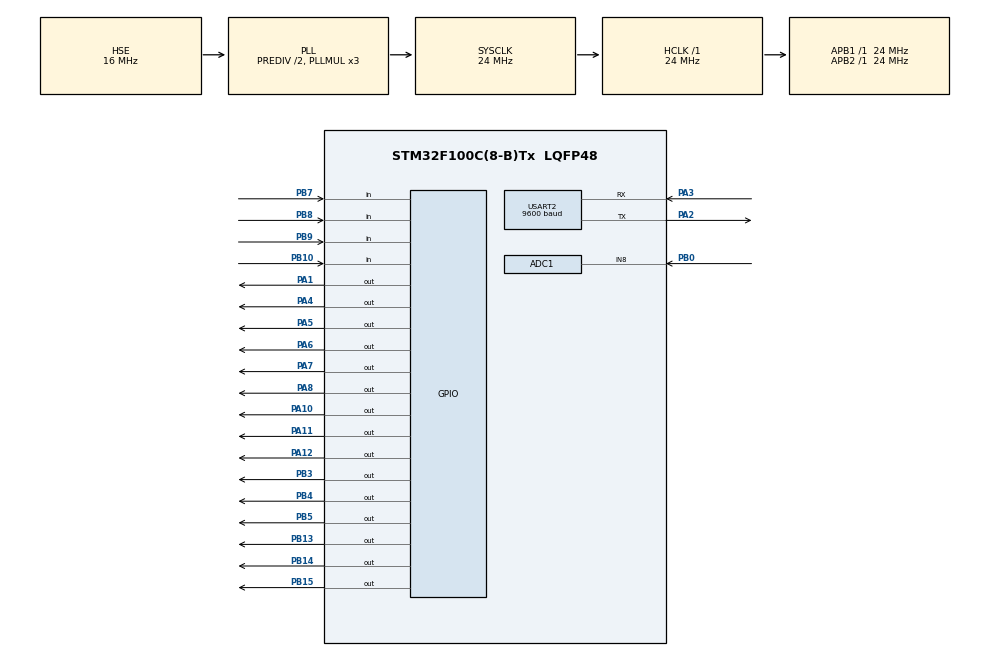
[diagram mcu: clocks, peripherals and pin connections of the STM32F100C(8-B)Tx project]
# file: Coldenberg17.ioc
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ADC1.Channel-0\#ChannelRegularConversion=ADC_CHANNEL_8
ADC1.ContinuousConvMode=ENABLE
ADC1.NbrOfConversionFlag=1
ADC1.Rank-0\#ChannelRegularConversion=1
ADC1.SamplingTime-0\#ChannelRegularConversion=ADC_SAMPLETIME_1CYCLE_5
ADC1.master=1
Mcu.Family=STM32F1
Mcu.Name=STM32F100C(8-B)Tx
Mcu.Package=LQFP48
NVIC.ADC1_IRQn=true\:0\:0\:false\:false\:true
NVIC.PriorityGroup=NVIC_PRIORITYGROUP_4
NVIC.USART2_IRQn=true\:0\:0\:false\:false\:true
PA1.Signal=GPIO_Output
PA10.Signal=GPIO_Output
PA11.Signal=GPIO_Output
PA12.Signal=GPIO_Output
PA13.Mode=Serial_Wire
PA13.Signal=SYS_JTMS-SWDIO
PA14.Mode=Serial_Wire
PA14.Signal=SYS_JTCK-SWCLK
PA2.Mode=Asynchronous
PA2.Signal=USART2_TX
PA3.Mode=Asynchronous
PA3.Signal=USART2_RX
PA4.Signal=GPIO_Output
PA5.Signal=GPIO_Output
PA6.Signal=GPIO_Output
PA7.Signal=GPIO_Output
PA8.Signal=GPIO_Output
PB0.Signal=ADCx_IN8
PB10.Signal=GPIO_Input
PB13.Signal=GPIO_Output
PB14.Signal=GPIO_Output
PB15.Signal=GPIO_Output
PB3.Signal=GPIO_Output
PB4.Signal=GPIO_Output
PB5.Signal=GPIO_Output
PB7.Signal=GPIO_Input
PB8.Signal=GPIO_Input
PB9.Signal=GPIO_Input
PD0-OSC_IN.Mode=HSE-External-Oscillator
PD0-OSC_IN.Signal=RCC_OSC_IN
PD1-OSC_OUT.Mode=HSE-External-Oscillator
PD1-OSC_OUT.Signal=RCC_OSC_OUT
ProjectManager.HeapSize=0x200
ProjectManager.StackSize=0x400
ProjectManager.TargetToolchain=TrueSTUDIO
RCC.AHBFreq_Value=24000000
RCC.APB1Freq_Value=24000000
RCC.APB1TimFreq_Value=24000000
RCC.APB2Freq_Value=24000000
RCC.APB2TimFreq_Value=24000000
RCC.EnbaleCSS=true
RCC.HCLKFreq_Value=24000000
RCC.HSEDivPLL=RCC_HSE_PREDIV_DIV2
RCC.HSE_VALUE=16000000
RCC.PLLMUL=RCC_PLL_MUL3
RCC.PLLSource=RCC_PLLSOURCE_HSE
RCC.SYSCLKFreq_VALUE=24000000
RCC.SYSCLKSource=RCC_SYSCLKSOURCE_PLLCLK
SH.ADCx_IN8.0=ADC1_IN8,IN8
USART2.BaudRate=9600
VP_WWDG_VS_WWDG.Mode=WWDG_Activate
board=Coldenberg17

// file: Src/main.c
/**
  ******************************************************************************
  * File Name          : main.c
  * Description        : Main program body
  ******************************************************************************
  *
  * COPYRIGHT(c) 2017 STMicroelectronics
  *
  * Redistribution and use in source and binary forms, with or without modification,
  * are permitted provided that the following conditions are met:
  *   1. Redistributions of source code must retain the above copyright notice,
  *      this list of conditions and the following disclaimer.
  *   2. Redistributions in binary form must reproduce the above copyright notice,
  *      this list of conditions and the following disclaimer in the documentation
  *      and/or other materials provided with the distribution.
  *   3. Neither the name of STMicroelectronics nor the names of its contributors
  *      may be used to endorse or promote products derived from this software
  *      without specific prior written permission.
  *
  * THIS SOFTWARE IS PROVIDED BY THE COPYRIGHT HOLDERS AND CONTRIBUTORS "AS IS"
  * AND ANY EXPRESS OR IMPLIED WARRANTIES, INCLUDING, BUT NOT LIMITED TO, THE
  * IMPLIED WARRANTIES OF MERCHANTABILITY AND FITNESS FOR A PARTICULAR PURPOSE ARE
  * DISCLAIMED. IN NO EVENT SHALL THE COPYRIGHT HOLDER OR CONTRIBUTORS BE LIABLE
  * FOR ANY DIRECT, INDIRECT, INCIDENTAL, SPECIAL, EXEMPLARY, OR CONSEQUENTIAL
  * DAMAGES (INCLUDING, BUT NOT LIMITED TO, PROCUREMENT OF SUBSTITUTE GOODS OR
  * SERVICES; LOSS OF USE, DATA, OR PROFITS; OR BUSINESS INTERRUPTION) HOWEVER
  * CAUSED AND ON ANY THEORY OF LIABILITY, WHETHER IN CONTRACT, STRICT LIABILITY,
  * OR TORT (INCLUDING NEGLIGENCE OR OTHERWISE) ARISING IN ANY WAY OUT OF THE USE
  * OF THIS SOFTWARE, EVEN IF ADVISED OF THE POSSIBILITY OF SUCH DAMAGE.
  *
  ******************************************************************************
  */
#include "main.h"
#include "stm32f1xx_hal.h"

/* USER CODE BEGIN Includes */
#include "Application/Logic.h"
#include "Application/Buttons/Buttons.h"
#include "Application/Display/Display.h"
#include "Application/LEDs/LEDs.h"
#include "Application/Ntc/Ntc.h"
#include "Application/Relays/Relays.h"

#include "Managers/BluetoothManager/BluetoothManager.h"
#include "Managers/LedsManager/LedsManager.h"
#include "Managers/LightManager/LightManager.h"
#include "Managers/TemperatureManager/TemperatureManager.h"
/* USER CODE END Includes */

ADC_HandleTypeDef hadc1;

UART_HandleTypeDef huart2;

WWDG_HandleTypeDef hwwdg;

/* USER CODE BEGIN PV */
/* Private variables ---------------------------------------------------------*/
volatile bool b10msPassed = false;
volatile bool b100msPassed = false;
/* USER CODE END PV */

void SystemClock_Config(void);
void Error_Handler(void);
static void MX_GPIO_Init(void);
static void MX_ADC1_Init(void);
static void MX_USART2_UART_Init(void);
static void MX_WWDG_Init(void);

/* USER CODE BEGIN PFP */
/* Private function prototypes -----------------------------------------------*/

/* USER CODE END PFP */

int main(void)
{

  /* MCU Configuration----------------------------------------------------------*/

  /* Reset of all peripherals, Initializes the Flash interface and the Systick. */
  HAL_Init();

  /* Configure the system clock */
  SystemClock_Config();

  /* Initialize all configured peripherals */
  MX_GPIO_Init();
  MX_ADC1_Init();
  MX_USART2_UART_Init();
  MX_WWDG_Init();

  /* USER CODE BEGIN 2 */
  Ntc_Initialize();
  Relays_Init();
  Buttons_Init();
  Display_InitState();
  /* USER CODE END 2 */

  /* Infinite loop */
  /* USER CODE BEGIN WHILE */
  while (1)
  {
	if(b100msPassed)
	{
		Ntc_Perform();   				//Get Temperature
		TemperatureManager_Perform(); 	//Manage relays to get stable temperature
		BluetoothManager_Perform(); 	//Send ntc value if connected

		/*! Keep it at the bottom */
		b100msPassed = false;
	}

	if(b10msPassed)
	{
		/*! Inputs */
		Buttons_Perform();
		Buttons_GenerateEvent();

		/*! Logic */
		Logic_Perform();  //Decide what is displayed

		/*! Managers */
		LedsManager_Perform();
		LightManager_Perform();

		/*! Outputs */
		Display_Perform();
		Relays_Perform();
		LEDs_Perform();

		/*! Keep it at the bottom */
		b10msPassed = false;
	}
  /* USER CODE END WHILE */

  }

}

/** System Clock Configuration
*/
void SystemClock_Config(void)
{

  RCC_OscInitTypeDef RCC_OscInitStruct;
  RCC_ClkInitTypeDef RCC_ClkInitStruct;
  RCC_PeriphCLKInitTypeDef PeriphClkInit;

    /**Initializes the CPU, AHB and APB busses clocks
    */
  RCC_OscInitStruct.OscillatorType = RCC_OSCILLATORTYPE_HSE;
  RCC_OscInitStruct.HSEState = RCC_HSE_ON;
  RCC_OscInitStruct.HSEPredivValue = RCC_HSE_PREDIV_DIV2;
  RCC_OscInitStruct.PLL.PLLState = RCC_PLL_ON;
  RCC_OscInitStruct.PLL.PLLSource = RCC_PLLSOURCE_HSE;
  RCC_OscInitStruct.PLL.PLLMUL = RCC_PLL_MUL3;
  if (HAL_RCC_OscConfig(&RCC_OscInitStruct) != HAL_OK)
  {
    Error_Handler();
  }

    /**Initializes the CPU, AHB and APB busses clocks
    */
  RCC_ClkInitStruct.ClockType = RCC_CLOCKTYPE_HCLK|RCC_CLOCKTYPE_SYSCLK
                              |RCC_CLOCKTYPE_PCLK1|RCC_CLOCKTYPE_PCLK2;
  RCC_ClkInitStruct.SYSCLKSource = RCC_SYSCLKSOURCE_PLLCLK;
  RCC_ClkInitStruct.AHBCLKDivider = RCC_SYSCLK_DIV1;
  RCC_ClkInitStruct.APB1CLKDivider = RCC_HCLK_DIV1;
  RCC_ClkInitStruct.APB2CLKDivider = RCC_HCLK_DIV1;

  if (HAL_RCC_ClockConfig(&RCC_ClkInitStruct, FLASH_LATENCY_0) != HAL_OK)
  {
    Error_Handler();
  }

  PeriphClkInit.PeriphClockSelection = RCC_PERIPHCLK_ADC;
  PeriphClkInit.AdcClockSelection = RCC_ADCPCLK2_DIV2;
  if (HAL_RCCEx_PeriphCLKConfig(&PeriphClkInit) != HAL_OK)
  {
    Error_Handler();
  }

    /**Enables the Clock Security System
    */
  HAL_RCC_EnableCSS();

    /**Configure the Systick interrupt time
    */
  HAL_SYSTICK_Config(HAL_RCC_GetHCLKFreq()/1000);

    /**Configure the Systick
    */
  HAL_SYSTICK_CLKSourceConfig(SYSTICK_CLKSOURCE_HCLK);

  /* SysTick_IRQn interrupt configuration */
  HAL_NVIC_SetPriority(SysTick_IRQn, 0, 0);
}

/* ADC1 init function */
static void MX_ADC1_Init(void)
{

  ADC_ChannelConfTypeDef sConfig;

    /**Common config
    */
  hadc1.Instance = ADC1;
  hadc1.Init.ScanConvMode = ADC_SCAN_DISABLE;
  hadc1.Init.ContinuousConvMode = ENABLE;
  hadc1.Init.DiscontinuousConvMode = DISABLE;
  hadc1.Init.ExternalTrigConv = ADC_SOFTWARE_START;
  hadc1.Init.DataAlign = ADC_DATAALIGN_RIGHT;
  hadc1.Init.NbrOfConversion = 1;
  if (HAL_ADC_Init(&hadc1) != HAL_OK)
  {
    Error_Handler();
  }

    /**Configure Regular Channel
    */
  sConfig.Channel = ADC_CHANNEL_8;
  sConfig.Rank = 1;
  sConfig.SamplingTime = ADC_SAMPLETIME_1CYCLE_5;
  if (HAL_ADC_ConfigChannel(&hadc1, &sConfig) != HAL_OK)
  {
    Error_Handler();
  }

}

/* USART2 init function */
static void MX_USART2_UART_Init(void)
{

  huart2.Instance = USART2;
  huart2.Init.BaudRate = 9600;
  huart2.Init.WordLength = UART_WORDLENGTH_8B;
  huart2.Init.StopBits = UART_STOPBITS_1;
  huart2.Init.Parity = UART_PARITY_NONE;
  huart2.Init.Mode = UART_MODE_TX_RX;
  huart2.Init.HwFlowCtl = UART_HWCONTROL_NONE;
  huart2.Init.OverSampling = UART_OVERSAMPLING_16;
  if (HAL_UART_Init(&huart2) != HAL_OK)
  {
    Error_Handler();
  }

}

/* WWDG init function */
static void MX_WWDG_Init(void)
{

  hwwdg.Instance = WWDG;
  hwwdg.Init.Prescaler = WWDG_PRESCALER_1;
  hwwdg.Init.Window = 64;
  hwwdg.Init.Counter = 64;
  if (HAL_WWDG_Init(&hwwdg) != HAL_OK)
  {
    Error_Handler();
  }

}

/** Configure pins as
        * Analog
        * Input
        * Output
        * EVENT_OUT
        * EXTI
*/
static void MX_GPIO_Init(void)
{

  GPIO_InitTypeDef GPIO_InitStruct;

  /* GPIO Ports Clock Enable */
  __HAL_RCC_GPIOD_CLK_ENABLE();
  __HAL_RCC_GPIOA_CLK_ENABLE();
  __HAL_RCC_GPIOB_CLK_ENABLE();

  /*Configure GPIO pin Output Level */
  HAL_GPIO_WritePin(GPIOA, GPIO_PIN_1|GPIO_PIN_4|GPIO_PIN_5|GPIO_PIN_6
                          |GPIO_PIN_7|GPIO_PIN_8|GPIO_PIN_10|GPIO_PIN_11
                          |GPIO_PIN_12, GPIO_PIN_RESET);

  /*Configure GPIO pin Output Level */
  HAL_GPIO_WritePin(GPIOB, GPIO_PIN_13|GPIO_PIN_14|GPIO_PIN_15|GPIO_PIN_3
                          |GPIO_PIN_4|GPIO_PIN_5, GPIO_PIN_RESET);

  /*Configure GPIO pins : PA1 PA4 PA5 PA6
                           PA7 PA8 PA10 PA11
                           PA12 */
  GPIO_InitStruct.Pin = GPIO_PIN_1|GPIO_PIN_4|GPIO_PIN_5|GPIO_PIN_6
                          |GPIO_PIN_7|GPIO_PIN_8|GPIO_PIN_10|GPIO_PIN_11
                          |GPIO_PIN_12;
  GPIO_InitStruct.Mode = GPIO_MODE_OUTPUT_PP;
  GPIO_InitStruct.Speed = GPIO_SPEED_FREQ_LOW;
  HAL_GPIO_Init(GPIOA, &GPIO_InitStruct);

  /*Configure GPIO pins : PB10 PB7 PB8 PB9 */
  GPIO_InitStruct.Pin = GPIO_PIN_10|GPIO_PIN_7|GPIO_PIN_8|GPIO_PIN_9;
  GPIO_InitStruct.Mode = GPIO_MODE_INPUT;
  GPIO_InitStruct.Pull = GPIO_NOPULL;
  HAL_GPIO_Init(GPIOB, &GPIO_InitStruct);

  /*Configure GPIO pins : PB13 PB14 PB15 PB3
                           PB4 PB5 */
  GPIO_InitStruct.Pin = GPIO_PIN_13|GPIO_PIN_14|GPIO_PIN_15|GPIO_PIN_3
                          |GPIO_PIN_4|GPIO_PIN_5;
  GPIO_InitStruct.Mode = GPIO_MODE_OUTPUT_PP;
  GPIO_InitStruct.Speed = GPIO_SPEED_FREQ_LOW;
  HAL_GPIO_Init(GPIOB, &GPIO_InitStruct);

}

void Error_Handler(void)
{
  while(1)
  {
  }
}

/************************ (C) COPYRIGHT STMicroelectronics *****END OF FILE****/
